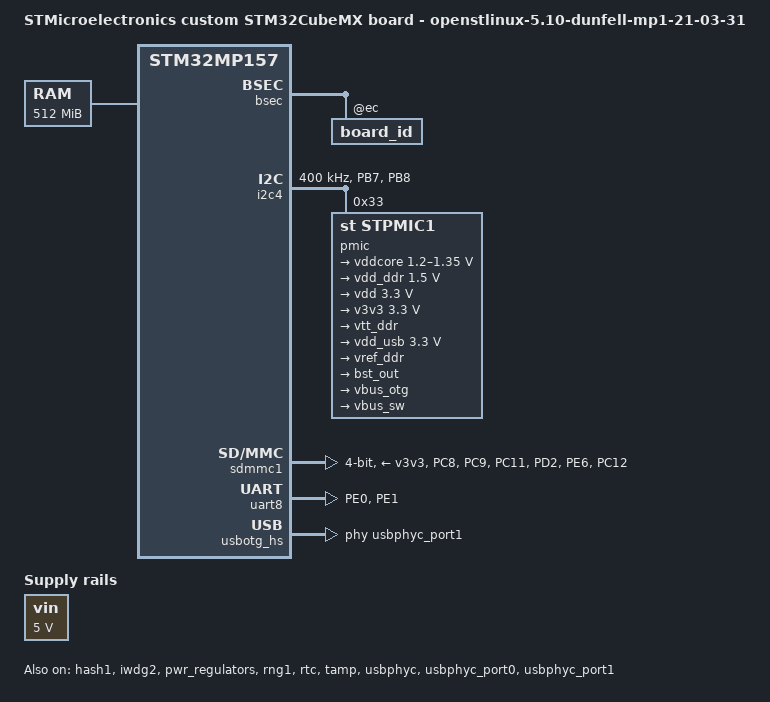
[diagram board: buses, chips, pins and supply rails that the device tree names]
/* SPDX-License-Identifier: (GPL-2.0+ OR BSD-3-Clause) */
/*
 * Copyright (C) STMicroelectronics 2022 - All Rights Reserved
 * Author: STM32CubeMX code generation for STMicroelectronics.
 */

/* For more information on Device Tree configuration, please refer to
 * https://wiki.st.com/stm32mpu/wiki/Category:Device_tree_configuration
 */

/dts-v1/;
#include <dt-bindings/pinctrl/stm32-pinfunc.h>
#include <dt-bindings/clock/stm32mp1-clksrc.h>
#include <dt-bindings/soc/st,stm32-etzpc.h>
#include "stm32mp15-mx.dtsi"

#include "stm32mp157.dtsi"
#include "stm32mp15xd.dtsi"
#include "stm32mp15xxab-pinctrl.dtsi"
#include "stm32mp15-ddr.dtsi"

/* USER CODE BEGIN includes */
#include <dt-bindings/power/stm32mp1-power.h>
/* USER CODE END includes */

/ {
	model = "STMicroelectronics custom STM32CubeMX board - openstlinux-5.10-dunfell-mp1-21-03-31";
	compatible = "st,stm32mp157d-wildhornav-mx", "st,stm32mp157";

	/* USER CODE BEGIN root */
	
	memory@c0000000{
		device_type = "memory";
		reg = <0xc0000000 0x20000000>;
	};
	
	aliases {
		serial0 = &uart8;
	};

	chosen {
		stdout-path = "serial0:115200n8";
	};
	
	vin:vin{
		compatible = "regulator-fixed";
		regulator-name = "vin";
		regulator-min-microvolt = <5000000>;
		regulator-max-microvolt = <5000000>;
		regulator-always-on;
	};
	
	/* USER CODE END root */

	clocks {
		/* USER CODE BEGIN clocks */
		/* USER CODE END clocks */

		clk_lse: clk-lse {

			/* USER CODE BEGIN clk_lse */
			/* USER CODE END clk_lse */
		};

		clk_hse: clk-hse {

			/* USER CODE BEGIN clk_hse */
			/* USER CODE END clk_hse */
		};
	};

}; /*root*/

&pinctrl {
	i2c4_pins_mx: i2c4_mx-0 {
		pins {
			pinmux = <STM32_PINMUX('B', 7, AF6)>, /* I2C4_SDA */
					 <STM32_PINMUX('B', 8, AF6)>; /* I2C4_SCL */
			bias-disable;
			drive-open-drain;
			slew-rate = <3>;
		};
	};

	sdmmc1_pins_mx: sdmmc1_mx-0 {
		pins1 {
			pinmux = <STM32_PINMUX('C', 8, AF12)>, /* SDMMC1_D0 */
					 <STM32_PINMUX('C', 9, AF12)>, /* SDMMC1_D1 */
					 <STM32_PINMUX('C', 11, AF12)>, /* SDMMC1_D3 */
					 <STM32_PINMUX('D', 2, AF12)>, /* SDMMC1_CMD */
					 <STM32_PINMUX('E', 6, AF8)>; /* SDMMC1_D2 */
			bias-pull-up;
			drive-push-pull;
			slew-rate = <1>;
		};
		pins2 {
			pinmux = <STM32_PINMUX('C', 12, AF12)>; /* SDMMC1_CK */
			bias-pull-up;
			drive-push-pull;
			slew-rate = <3>;
		};
	};

	uart8_pins_mx: uart8_mx-0 {
		pins1 {
			pinmux = <STM32_PINMUX('E', 0, AF8)>; /* UART8_RX */
			bias-disable;
		};
		pins2 {
			pinmux = <STM32_PINMUX('E', 1, AF8)>; /* UART8_TX */
			bias-disable;
			drive-push-pull;
			slew-rate = <0>;
		};
	};

	/* USER CODE BEGIN pinctrl */
	/* USER CODE END pinctrl */
};

&pinctrl_z {
	/* USER CODE BEGIN pinctrl_z */
	/* USER CODE END pinctrl_z */
};

&rcc {
	st,csi-cal;
	st,hsi-cal;
	st,cal-sec = <60>;
	st,clksrc = <
		CLK_MPU_PLL1P
		CLK_AXI_PLL2P
		CLK_MCU_PLL3P
		CLK_PLL12_HSI
		CLK_PLL3_HSI
		CLK_PLL4_HSI
		CLK_RTC_LSI
		CLK_MCO1_DISABLED
		CLK_MCO2_DISABLED
	>;
	st,clkdiv = <
		1 		/*MPU*/
		0 		/*AXI*/
		0 		/*MCU*/
		1 		/*APB1*/
		1 		/*APB2*/
		1 		/*APB3*/
		1 		/*APB4*/
		2 		/*APB5*/
		0 		/*RTC*/
		0 		/*MCO1*/
		0 		/*MCO2*/
	>;
	st,pkcs = <
		CLK_CKPER_DISABLED
		CLK_ETH_DISABLED
		CLK_SDMMC12_PLL3R
		CLK_STGEN_HSI
		CLK_USBPHY_PLL4R
		CLK_SPI2S1_PLL3Q
		CLK_SPI2S23_PLL3Q
		CLK_SPI45_DISABLED
		CLK_SPI6_DISABLED
		CLK_I2C46_PLL3Q
		CLK_SDMMC3_DISABLED
		CLK_USBO_USBPHY
		CLK_ADC_PLL3Q
		CLK_CEC_DISABLED
		CLK_I2C12_PCLK1
		CLK_I2C35_PCLK1
		CLK_UART1_DISABLED
		CLK_UART24_PCLK1
		CLK_UART35_PCLK1
		CLK_UART6_PCLK2
		CLK_UART78_PCLK1
		CLK_SPDIF_DISABLED
		CLK_FDCAN_PLL3Q
		CLK_SAI1_DISABLED
		CLK_SAI2_DISABLED
		CLK_SAI3_DISABLED
		CLK_SAI4_DISABLED
		CLK_RNG1_CSI
		CLK_LPTIM1_DISABLED
		CLK_LPTIM23_DISABLED
		CLK_LPTIM45_DISABLED
	>;
	pll1:st,pll@0 {
		compatible = "st,stm32mp1-pll";
		reg = <0>;
		cfg = < 3 49 0 1 1 PQR(1,0,0) >;
	};
	pll2:st,pll@1 {
		compatible = "st,stm32mp1-pll";
		reg = <1>;
		cfg = < 3 32 1 1 0 PQR(1,0,1) >;
		frac = < 0xa00 >;
	};
	pll3:st,pll@2 {
		compatible = "st,stm32mp1-pll";
		reg = <2>;
		cfg = < 3 24 1 3 1 PQR(1,1,1) >;
	};
	pll4:st,pll@3 {
		compatible = "st,stm32mp1-pll";
		reg = <3>;
		cfg = < 3 25 4 1 13 PQR(0,0,1) >;
		frac = < 0x800 >;
	};
};

&bsec{
	status = "okay";
	secure-status = "okay";

	/* USER CODE BEGIN bsec */
	
	board_id:board_id@ec{
		reg = <0xec 0x4>;
		st,non-secure-otp;
	};
	
	/* USER CODE END bsec */
};

&etzpc{
	st,decprot = <
	/*"Non Secured" peripherals*/
	DECPROT(STM32MP1_ETZPC_DMA1_ID, DECPROT_NS_RW, DECPROT_UNLOCK)
	DECPROT(STM32MP1_ETZPC_DMAMUX_ID, DECPROT_NS_RW, DECPROT_UNLOCK)
	DECPROT(STM32MP1_ETZPC_HASH1_ID, DECPROT_NS_RW, DECPROT_UNLOCK)
	DECPROT(STM32MP1_ETZPC_I2C4_ID, DECPROT_NS_RW, DECPROT_UNLOCK)
	DECPROT(STM32MP1_ETZPC_RNG1_ID, DECPROT_NS_RW, DECPROT_UNLOCK)
	DECPROT(STM32MP1_ETZPC_UART8_ID, DECPROT_NS_RW, DECPROT_UNLOCK)
	DECPROT(STM32MP1_ETZPC_OTG_ID, DECPROT_NS_RW, DECPROT_UNLOCK)
	/*"NS_R S_W" peripherals*/
	DECPROT(STM32MP1_ETZPC_DDRCTRL_ID, DECPROT_NS_R_S_W, DECPROT_LOCK)
	DECPROT(STM32MP1_ETZPC_DDRPHYC_ID, DECPROT_NS_R_S_W, DECPROT_LOCK)
	/*"Secured" peripherals*/
	DECPROT(STM32MP1_ETZPC_STGENC_ID, DECPROT_S_RW, DECPROT_UNLOCK)
	/*"Mcu Isolation" peripherals*/
	DECPROT(STM32MP1_ETZPC_ADC_ID, DECPROT_MCU_ISOLATION, DECPROT_UNLOCK)
	DECPROT(STM32MP1_ETZPC_DAC_ID, DECPROT_MCU_ISOLATION, DECPROT_UNLOCK)
	DECPROT(STM32MP1_ETZPC_DMA2_ID, DECPROT_MCU_ISOLATION, DECPROT_UNLOCK)
	DECPROT(STM32MP1_ETZPC_TT_FDCAN_ID, DECPROT_MCU_ISOLATION, DECPROT_UNLOCK)
	DECPROT(STM32MP1_ETZPC_I2C1_ID, DECPROT_MCU_ISOLATION, DECPROT_UNLOCK)
	DECPROT(STM32MP1_ETZPC_I2C2_ID, DECPROT_MCU_ISOLATION, DECPROT_UNLOCK)
	DECPROT(STM32MP1_ETZPC_I2C5_ID, DECPROT_MCU_ISOLATION, DECPROT_UNLOCK)
	DECPROT(STM32MP1_ETZPC_SPI1_ID, DECPROT_MCU_ISOLATION, DECPROT_UNLOCK)
	DECPROT(STM32MP1_ETZPC_SPI2_ID, DECPROT_MCU_ISOLATION, DECPROT_UNLOCK)
	DECPROT(STM32MP1_ETZPC_SPI3_ID, DECPROT_MCU_ISOLATION, DECPROT_UNLOCK)
	DECPROT(STM32MP1_ETZPC_TIM3_ID, DECPROT_MCU_ISOLATION, DECPROT_UNLOCK)
	DECPROT(STM32MP1_ETZPC_TIM4_ID, DECPROT_MCU_ISOLATION, DECPROT_UNLOCK)
	DECPROT(STM32MP1_ETZPC_TIM5_ID, DECPROT_MCU_ISOLATION, DECPROT_UNLOCK)
	DECPROT(STM32MP1_ETZPC_USART2_ID, DECPROT_MCU_ISOLATION, DECPROT_UNLOCK)
	DECPROT(STM32MP1_ETZPC_USART3_ID, DECPROT_MCU_ISOLATION, DECPROT_UNLOCK)
	DECPROT(STM32MP1_ETZPC_USART6_ID, DECPROT_MCU_ISOLATION, DECPROT_UNLOCK)

	/*Restriction: following IDs are not managed  - please to use User-Section if needed:
		STM32MP1_ETZPC_SRAMx_ID, STM32MP1_ETZPC_RETRAM_ID, STM32MP1_ETZPC_BKPSRAM_ID*/

	/* USER CODE BEGIN etzpc_decprot */
		/*STM32CubeMX generates a basic and standard configuration for ETZPC.
		Additional device configurations can be added here if needed.
		"etzpc" node could be also overloaded in "addons" User-Section.*/
	/* USER CODE END etzpc_decprot */
	>;

	secure-status = "okay";

	/* USER CODE BEGIN etzpc */
	/* USER CODE END etzpc */
};

&hash1{
	status = "okay";

	/* USER CODE BEGIN hash1 */
	/* USER CODE END hash1 */
};

&i2c4{
	pinctrl-names = "default";
	pinctrl-0 = <&i2c4_pins_mx>;
	status = "okay";
	secure-status = "okay";

	/* USER CODE BEGIN i2c4 */
	clock-frequency = <400000>;
	i2c-scl-rising-time-ns = <185>;
	i2c-scl-falling-time-ns = <20>;
	
	pmic: stpmic@33 {
		compatible = "st,stpmic1";
		reg = <0x33>;
		//interrupts-extended = <&exti_pwr 55 IRQ_TYPE_EDGE_FALLING>;
		interrupt-controller;
		#interrupt-cells = <2>;
		status = "okay";
		secure-status = "okay";

		regulators {
			compatible = "st,stpmic1-regulators";
			buck1-supply = <&vin>;
			buck2-supply = <&vin>;
			buck3-supply = <&vin>;
			buck4-supply = <&vin>;
			ldo1-supply = <&v3v3>;
			ldo2-supply = <&vin>;
			ldo3-supply = <&vdd_ddr>;
			ldo4-supply = <&vin>;
			ldo5-supply = <&vin>;
			ldo6-supply = <&v3v3>;
			vref_ddr-supply = <&vin>;
			boost-supply = <&vin>;
			pwr_sw1-supply = <&bst_out>;
			pwr_sw2-supply = <&bst_out>;

			vddcore: buck1 {
				regulator-name = "vddcore";
				regulator-min-microvolt = <1200000>;
				regulator-max-microvolt = <1350000>;
				regulator-always-on;
				regulator-initial-mode = <0>;
				regulator-over-current-protection;
			};

			vdd_ddr: buck2 {
				regulator-name = "vdd_ddr";
				regulator-min-microvolt = <1500000>;
				regulator-max-microvolt = <1500000>;
				regulator-boot-on;
				regulator-initial-mode = <0>;
				regulator-over-current-protection;
			};

			vdd: buck3 {
				regulator-name = "vdd";
				regulator-min-microvolt = <3300000>;
				regulator-max-microvolt = <3300000>;
				regulator-always-on;
				st,mask-reset;
				regulator-initial-mode = <0>;
				regulator-over-current-protection;
			};

			v3v3: buck4 {
				regulator-name = "v3v3";
				regulator-min-microvolt = <3300000>;
				regulator-max-microvolt = <3300000>;
				regulator-always-on;
				regulator-over-current-protection;
				regulator-initial-mode = <0>;
			};

			vtt_ddr: ldo3 {
				regulator-name = "vtt_ddr";
				regulator-always-on;
				regulator-over-current-protection;
				st,regulator-sink-source;
			};

			vdd_usb: ldo4 {
				regulator-name = "vdd_usb";
				regulator-min-microvolt = <3300000>;
				regulator-max-microvolt = <3300000>;
			};

			vref_ddr: vref_ddr {
				regulator-name = "vref_ddr";
				regulator-always-on;
			};

			bst_out: boost {
				regulator-name = "bst_out";
			};

			vbus_otg: pwr_sw1 {
				regulator-name = "vbus_otg";
			};

			vbus_sw: pwr_sw2 {
				regulator-name = "vbus_sw";
				regulator-active-discharge = <1>;
			};
		};
	};
	
	/* USER CODE END i2c4 */
};

&iwdg2{
	status = "okay";
	secure-status = "okay";

	/* USER CODE BEGIN iwdg2 */
	/* USER CODE END iwdg2 */
};

&pwr_regulators{
	status = "okay";
	secure-status = "okay";

	/* USER CODE BEGIN pwr_regulators */
	
	system_suspend_supported_soc_modes = <
		STM32_PM_CSLEEP_RUN
		STM32_PM_CSTOP_ALLOW_LP_STOP
		STM32_PM_CSTOP_ALLOW_STANDBY_DDR_SR
	>;
	system_off_soc_mode = <STM32_PM_CSTOP_ALLOW_STANDBY_DDR_OFF>;
	vdd-supply = <&vdd>;
	vdd_3v3_usbfs-supply = <&vdd_usb>;
	
	/* USER CODE END pwr_regulators */
};

&rcc{
	status = "okay";
	secure-status = "okay";

	/* USER CODE BEGIN rcc */
	/* USER CODE END rcc */
};

&rng1{
	status = "okay";
	secure-status = "okay";

	/* USER CODE BEGIN rng1 */
	/* USER CODE END rng1 */
};

&rtc{
	status = "okay";
	secure-status = "okay";

	/* USER CODE BEGIN rtc */
	/* USER CODE END rtc */
};

&sdmmc1{
	pinctrl-names = "default";
	pinctrl-0 = <&sdmmc1_pins_mx>;
	status = "okay";

	/* USER CODE BEGIN sdmmc1 */
	disable-wp;
	st,neg-edge;
	bus-width = <4>;
	vmmc-supply = <&v3v3>;
	
	/* USER CODE END sdmmc1 */
};

&tamp{
	status = "okay";
	secure-status = "okay";

	/* USER CODE BEGIN tamp */
	/* USER CODE END tamp */
};

&uart8{
	pinctrl-names = "default";
	pinctrl-0 = <&uart8_pins_mx>;
	status = "okay";

	/* USER CODE BEGIN uart8 */
	/* USER CODE END uart8 */
};

&usbotg_hs{
	status = "okay";

	/* USER CODE BEGIN usbotg_hs */
	
	phys = <&usbphyc_port1 0>;
	phy-names = "usb2-phy";
	usb-role-switch;
	
	/* USER CODE END usbotg_hs */
};

&usbphyc{
	status = "okay";

	/* USER CODE BEGIN usbphyc */
	/* USER CODE END usbphyc */
};

&usbphyc_port0{
	status = "okay";

	/* USER CODE BEGIN usbphyc_port0 */
	
	phy-supply = <&vdd_usb>;
	
	/* USER CODE END usbphyc_port0 */
};

&usbphyc_port1{
	status = "okay";

	/* USER CODE BEGIN usbphyc_port1 */
	
	phy-supply = <&vdd_usb>;
	
	/* USER CODE END usbphyc_port1 */
};

/* USER CODE BEGIN addons */

&cpu0{
	cpu-supply = <&vddcore>;
};

&cpu1{
	cpu-supply = <&vddcore>;
};

&nvmem_layout{
	nvmem-cells = <&cfg0_otp>,
			<&part_number_otp>,
			<&monotonic_otp>,
			<&nand_otp>,
			<&uid_otp>,
			<&package_otp>,
			<&hw2_otp>,
			<&pkh_otp>,
			<&board_id>;
	nvmem-cell-names = "cfg0_otp",
			"part_number_otp",
			"monotonic_otp",
			"nand_otp",
			"uid_otp",
			"package_otp",
			"hw2_otp",
			"pkh_otp",
			"board_id";
};

/* USER CODE END addons */

